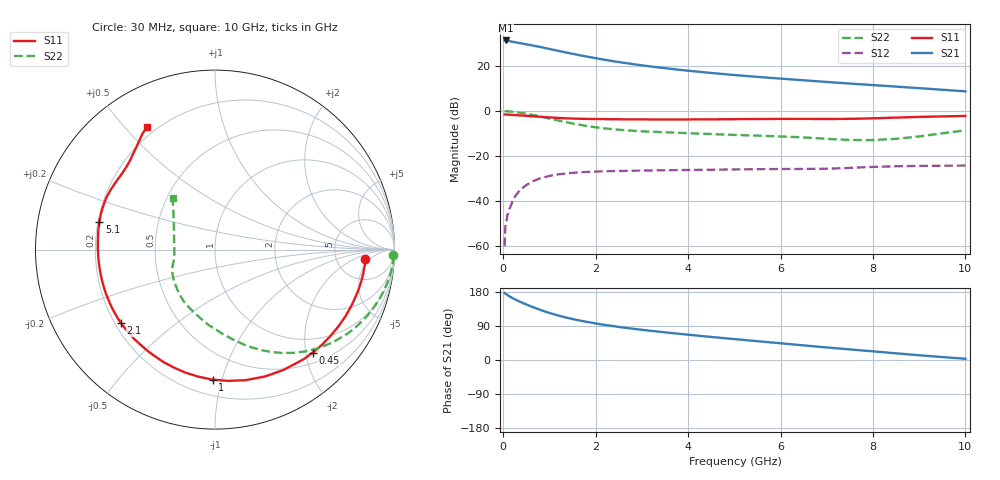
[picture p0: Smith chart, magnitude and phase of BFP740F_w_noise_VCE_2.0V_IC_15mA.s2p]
! Infineon Technologies  Discrete & RF Semiconductors
! BFP740F
! VCE =  2.0 V,  IC =  15 mA
! Common Emitter S-Parameters:  Oct 2012
# GHz  S  MA  R  50
!  f  S11  S21  S12  S22
! GHz  MAG  ANG  MAG  ANG  MAG  ANG  MAG  ANG
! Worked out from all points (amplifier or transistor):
!   99 points, 30 MHz to 10 GHz, reference 50 ohm
!   highest |S21| = 31.4 dB at 50 MHz (marker M1)
!   |S21| within 3 dB of that: start of sweep to 823.9 MHz
!   unconditionally stable (mu >= 1): 6.224 GHz to end of sweep
!   at 350 MHz: K = 0.11, MSG = 32.8 dB, |S12| = -35.4 dB
!   at 3.5 GHz: K = 0.60, MSG = 22.7 dB, |S12| = -26.3 dB
!   at 10 GHz: K = 1.24, MAG = 13.5 dB, |S12| = -24.2 dB
!   lowest NFmin = 0.53 dB at 450 MHz
!   S11 on the Smith chart (normalised r, x): 30 MHz: 10, -3; 450 MHz: 0.70, -2.14; 1 GHz: 0.31, -0.93; 2.1 GHz: 0.22, -0.33; 5.1 GHz: 0.21, +0.11; 10 GHz: 0.17, +0.58
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0.03  0.8394 -3.4  36.87 176.7  0.001 105.4  0.9912 -1.9
0.05  0.8396 -5.6  37.02 175.0  0.0031 73.9  0.9941 -3.5
0.1  0.8345 -11.1  36.38 170.7  0.0051 80.7  0.9877 -7.2
0.2  0.8227 -21.8  34.65 163.5  0.0098 78.5  0.9667 -14.2
0.3  0.8099 -31.9  33.11 157.4  0.0146 73.6  0.9391 -20.6
0.45  0.7911 -46.5  31.08 149.1  0.0208 66.5  0.892 -29.6
0.6  0.7717 -60.2  29.13 141.5  0.0263 59.4  0.8361 -38.1
0.7  0.7598 -68.5  27.76 136.9  0.0293 55.6  0.798 -43.4
0.8  0.7472 -76.8  26.52 132.3  0.0321 51.8  0.7593 -48.3
1  0.7246 -91.1  23.99 124.2  0.0363 45.1  0.6836 -57.4
1.1  0.7137 -97.7  22.81 120.5  0.0381 42.3  0.647 -61.6
1.3  0.6959 -109.3  20.62 113.9  0.0405 37.6  0.5833 -69.2
1.5  0.6822 -119.3  18.7 108.2  0.0425 33.7  0.5303 -75.9
1.7  0.6732 -127.9  17.04 103.1  0.0439 30.5  0.487 -82.1
2.1  0.665 -142.1  14.34 94.3  0.0458 25.4  0.425 -94.1
2.7  0.6553 -157.1  11.45 84.1  0.0471 21.2  0.3714 -107.4
3.4  0.6514 -170.0  9.222 74.3  0.0483 18.0  0.342 -119.0
4.2  0.6528 178.3  7.521 64.4  0.0494 16.1  0.3175 -128.5
5.1  0.6629 166.6  6.203 54.1  0.0507 14.7  0.2935 -139.1
6.7  0.6686 147.7  4.663 36.4  0.0521 13.9  0.2533 -158.9
8.5  0.7169 128.0  3.496 17.6  0.0595 13.1  0.2417 160.8
10  0.7801 119.0  2.745 3.2  0.0617 9.1  0.3745 129.2
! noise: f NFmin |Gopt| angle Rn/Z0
0.45  0.53  0.1  7  0.57
0.9  0.59  0.1  17  0.24
1.5  0.65  0.1  30  0.04
1.9  0.7  0.1  43  0.03
2.4  0.74  0.1  60  0.03
3.5  0.85  0.09  78  0.13
5.5  1.03  0.07  170  0.18
10  1.4  0.38  -111  0.12
